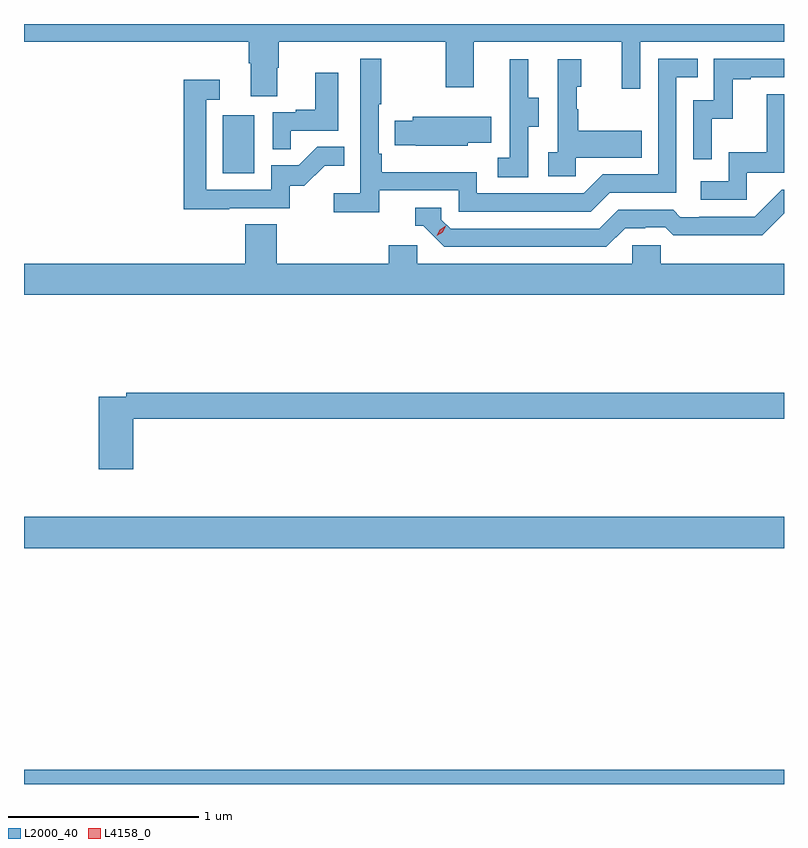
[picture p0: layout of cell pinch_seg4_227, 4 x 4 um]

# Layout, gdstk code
import gdstk
lib = gdstk.Library(unit=1e-6, precision=1e-09)
def R(c, l, rs):  # rectangles x0, y0, x1, y1
    for r in rs: c.add(gdstk.rectangle(r[:2], r[2:], *l))
def P(c, l, *ps):  # polygons
    for p in ps: c.add(gdstk.Polygon(p, *l))
L2000_40 = (2000, 40)
L4158_0 = (4158, 0)

pinch_seg4_227 = lib.new_cell('pinch_seg4_227')
R(pinch_seg4_227, L2000_40, [(911.747,820.886,915.747,820.96), (911.747,822.128,915.747,822.292), (912.794,824.1,912.958,824.407)])
P(pinch_seg4_227, L2000_40, [(913.081,824.655),(913.089,824.655),(913.089,824.792),(913.966,824.792),(913.966,824.553),(914.113,824.553),(914.113,824.792),(914.894,824.792),(914.894,824.544),(914.991,824.544),(914.991,824.792),(915.747,824.792),(915.747,824.886),(911.747,824.886),(911.747,824.792),(912.929,824.792),(912.929,824.68),(912.941,824.68),(912.941,824.506),(913.081,824.506)],
  [(913.616,824.01),(914.034,824.01),(914.034,823.899),(914.731,823.899),(914.83,823.998),(915.18,823.998),(915.18,824.607),(915.293,824.607),(915.293,824.703),(915.084,824.703),(915.084,824.094),(914.793,824.094),(914.694,823.995),(914.13,823.995),(914.13,824.107),(913.631,824.107),(913.631,824.203),(913.614,824.203),(913.614,824.464),(913.627,824.464),(913.627,824.704),(913.518,824.704),(913.518,823.996),(913.377,823.996),(913.377,823.894),(913.616,823.894)],
  [(915.366,824.387),(915.476,824.387),(915.476,824.595),(915.571,824.595),(915.571,824.607),(915.747,824.607),(915.747,824.703),(915.378,824.703),(915.378,824.484),(915.27,824.484),(915.27,824.175),(915.366,824.175)],
  [(914.4,824.344),(914.455,824.344),(914.455,824.499),(914.401,824.499),(914.401,824.701),(914.303,824.701),(914.303,824.487),(914.304,824.487),(914.304,824.183),(914.241,824.183),(914.241,824.08),(914.4,824.08)],
  [(914.652,824.183),(914.999,824.183),(914.999,824.323),(914.665,824.323),(914.665,824.438),(914.655,824.438),(914.655,824.556),(914.68,824.556),(914.68,824.701),(914.556,824.701),(914.556,824.21),(914.505,824.21),(914.505,824.085),(914.652,824.085)],
  [(913.151,824.325),(913.402,824.325),(913.402,824.629),(913.28,824.629),(913.28,824.434),(913.177,824.434),(913.177,824.421),(913.056,824.421),(913.056,824.227),(913.151,824.227)],
  [(912.827,823.917),(913.146,823.917),(913.146,824.034),(913.222,824.034),(913.329,824.141),(913.433,824.141),(913.433,824.24),(913.29,824.24),(913.192,824.142),(913.047,824.142),(913.047,824.013),(912.705,824.013),(912.705,824.487),(912.778,824.487),(912.778,824.593),(912.589,824.593),(912.589,823.912),(912.827,823.912)],
  [(915.552,824.103),(915.747,824.103),(915.747,824.515),(915.655,824.515),(915.655,824.212),(915.456,824.212),(915.456,824.058),(915.309,824.058),(915.309,823.962),(915.552,823.962)],
  [(914.082,824.261),(914.207,824.261),(914.207,824.398),(913.793,824.398),(913.793,824.376),(913.699,824.376),(913.699,824.247),(913.81,824.247),(913.81,824.246),(914.082,824.246)],
  [(914.911,823.812),(915.018,823.812),(915.018,823.815),(915.121,823.815),(915.163,823.773),(915.396,823.773),(915.396,823.775),(915.632,823.775),(915.747,823.89),(915.747,824.013),(915.735,824.013),(915.594,823.872),(915.301,823.872),(915.301,823.869),(915.202,823.869),(915.163,823.908),(914.874,823.908),(914.775,823.809),(913.992,823.809),(913.944,823.857),(913.944,823.92),(913.805,823.92),(913.805,823.824),(913.848,823.824),(913.959,823.713),(914.812,823.713)],
  [(915.747,823.624),(915.099,823.624),(915.099,823.722),(914.949,823.722),(914.949,823.624),(913.818,823.624),(913.818,823.722),(913.667,823.722),(913.667,823.624),(913.076,823.624),(913.076,823.832),(912.911,823.832),(912.911,823.624),(911.747,823.624),(911.747,823.46),(915.747,823.46)],
  [(912.323,822.808),(915.747,822.808),(915.747,822.944),(912.286,822.944),(912.286,822.924),(912.14,822.924),(912.14,822.543),(912.323,822.543)])
P(pinch_seg4_227, L4158_0, [(913.92,823.772),(913.92,823.772),(913.936,823.804),(913.967,823.824),(913.967,823.824),(913.967,823.824),(913.951,823.791),(913.92,823.772)])

lib.write_gds('pinch_seg4_227.gds')
